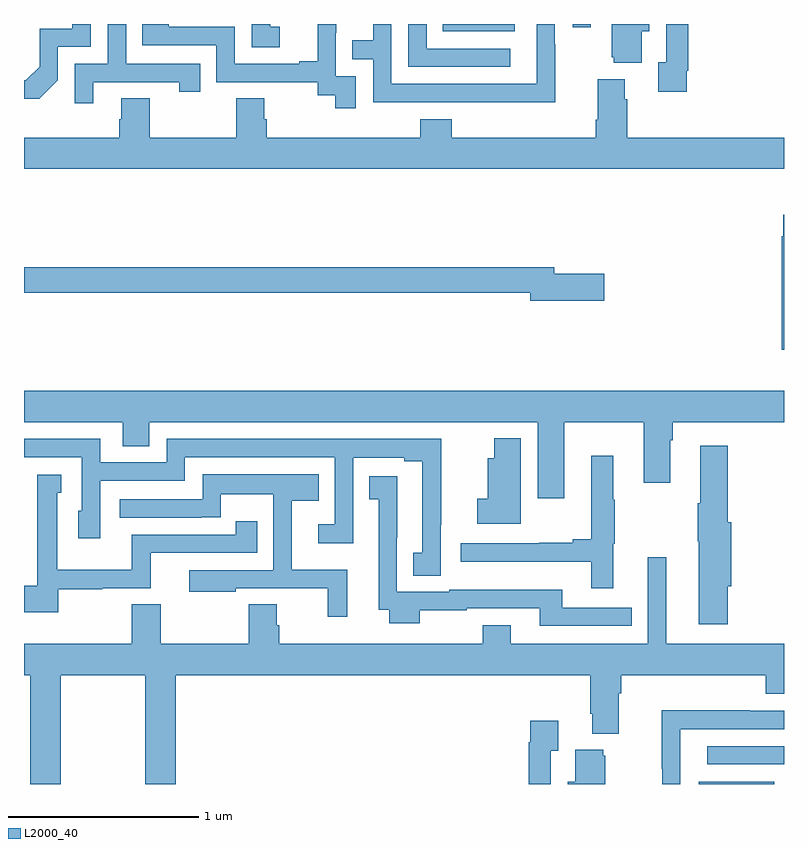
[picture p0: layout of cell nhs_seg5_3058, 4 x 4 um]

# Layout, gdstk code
import gdstk
lib = gdstk.Library(unit=1e-6, precision=1e-09)
def R(c, l, rs):  # rectangles x0, y0, x1, y1
    for r in rs: c.add(gdstk.rectangle(r[:2], r[2:], *l))
def P(c, l, *ps):  # polygons
    for p in ps: c.add(gdstk.Polygon(p, *l))
L2000_40 = (2000, 40)

nhs_seg5_3058 = lib.new_cell('nhs_seg5_3058')
R(nhs_seg5_3058, L2000_40, [(290.552,910.799,290.948,910.81), (290.595,910.902,291,910.998), (289.204,914.762,289.582,914.799), (289.887,914.781,289.983,914.799)])
P(nhs_seg5_3058, L2000_40, [(289.558,914.67),(289.119,914.67),(289.119,914.799),(289.023,914.799),(289.023,914.574),(289.558,914.574)],
  [(290.251,914.762),(290.29,914.762),(290.29,914.799),(290.093,914.799),(290.093,914.625),(290.105,914.625),(290.105,914.594),(290.251,914.594)],
  [(287.365,914.493),(287.816,914.493),(287.816,914.442),(287.927,914.442),(287.927,914.589),(287.538,914.589),(287.538,914.799),(287.442,914.799),(287.442,914.589),(287.268,914.589),(287.268,914.382),(287.365,914.382)],
  [(288.346,914.785),(288.297,914.785),(288.297,914.799),(288.198,914.799),(288.198,914.676),(288.346,914.676)],
  [(289.797,914.693),(289.794,914.693),(289.794,914.799),(289.698,914.799),(289.698,914.484),(288.933,914.484),(288.933,914.799),(288.837,914.799),(288.837,914.714),(288.727,914.714),(288.727,914.613),(288.837,914.613),(288.837,914.388),(289.333,914.388),(289.333,914.387),(289.797,914.387)],
  [(290.488,914.554),(290.495,914.554),(290.495,914.799),(290.379,914.799),(290.379,914.598),(290.339,914.598),(290.339,914.442),(290.488,914.442)],
  [(287.178,914.502),(287.178,914.679),(287.352,914.679),(287.352,914.799),(287.255,914.799),(287.255,914.775),(287.082,914.775),(287.082,914.574),(287.01,914.502),(287,914.502),(287,914.405),(287.08,914.405)],
  [(288.747,914.523),(288.642,914.523),(288.642,914.753),(288.644,914.753),(288.644,914.799),(288.545,914.799),(288.545,914.602),(288.449,914.602),(288.449,914.589),(288.108,914.589),(288.108,914.784),(287.763,914.784),(287.763,914.799),(287.623,914.799),(287.623,914.688),(288.012,914.688),(288.012,914.493),(288.546,914.493),(288.546,914.425),(288.639,914.425),(288.639,914.355),(288.747,914.355)],
  [(291,914.2),(290.174,914.2),(290.174,914.402),(290.161,914.402),(290.161,914.509),(290.021,914.509),(290.021,914.296),(290.009,914.296),(290.009,914.2),(289.25,914.2),(289.25,914.299),(289.085,914.299),(289.085,914.2),(288.278,914.2),(288.278,914.298),(288.265,914.298),(288.265,914.408),(288.118,914.408),(288.118,914.2),(287.661,914.2),(287.661,914.408),(287.513,914.408),(287.513,914.298),(287.501,914.298),(287.501,914.2),(287,914.2),(287,914.036),(291,914.036)],
  [(291,913.795),(290.997,913.795),(290.997,913.682),(290.989,913.682),(290.989,913.085),(291,913.085)],
  [(290.053,913.484),(289.792,913.484),(289.792,913.52),(287,913.52),(287,913.384),(289.664,913.384),(289.664,913.342),(290.053,913.342)],
  [(289.843,912.704),(290.261,912.704),(290.261,912.384),(290.401,912.384),(290.401,912.608),(290.414,912.608),(290.414,912.704),(291,912.704),(291,912.868),(287,912.868),(287,912.704),(287.519,912.704),(287.519,912.577),(287.659,912.577),(287.659,912.704),(289.703,912.704),(289.703,912.303),(289.843,912.303)],
  [(289.615,912.619),(289.475,912.619),(289.475,912.514),(289.442,912.514),(289.442,912.3),(289.386,912.3),(289.386,912.17),(289.615,912.17)],
  [(289.194,912.163),(289.197,912.163),(289.197,912.616),(288.739,912.616),(288.739,912.615),(287.751,912.615),(287.751,912.492),(287.4,912.492),(287.4,912.615),(287,912.615),(287,912.519),(287.304,912.519),(287.304,912.237),(287.285,912.237),(287.285,912.093),(287.4,912.093),(287.4,912.396),(287.847,912.396),(287.847,912.519),(288.636,912.519),(288.636,912.166),(288.549,912.166),(288.549,912.065),(288.732,912.065),(288.732,912.515),(289.001,912.515),(289.001,912.498),(289.097,912.498),(289.097,912.015),(289.048,912.015),(289.048,911.896),(289.194,911.896)],
  [(290.705,911.841),(290.723,911.841),(290.723,912.177),(290.705,912.177),(290.705,912.58),(290.558,912.58),(290.558,912.277),(290.545,912.277),(290.545,912.077),(290.552,912.077),(290.552,911.64),(290.705,911.64)],
  [(290.101,912.063),(290.109,912.063),(290.109,912.296),(290.101,912.296),(290.101,912.526),(289.985,912.526),(289.985,912.086),(289.889,912.086),(289.889,912.069),(289.711,912.069),(289.711,912.066),(289.299,912.066),(289.299,911.969),(289.985,911.969),(289.985,911.829),(290.101,911.829)],
  [(288.7,911.926),(288.409,911.926),(288.409,912.29),(288.551,912.29),(288.551,912.43),(287.94,912.43),(287.94,912.297),(287.505,912.297),(287.505,912.201),(287.933,912.201),(287.933,912.202),(288.036,912.202),(288.036,912.323),(288.312,912.323),(288.312,911.925),(287.871,911.925),(287.871,911.81),(288.115,911.81),(288.115,911.829),(288.598,911.829),(288.598,911.679),(288.7,911.679)],
  [(287.179,911.824),(287.412,911.824),(287.412,911.829),(287.666,911.829),(287.666,912.015),(288.227,912.015),(288.227,912.181),(288.114,912.181),(288.114,912.111),(287.567,912.111),(287.567,911.926),(287.176,911.926),(287.176,912.333),(287.197,912.333),(287.197,912.426),(287.069,912.426),(287.069,911.938),(287.07,911.938),(287.07,911.842),(287,911.842),(287,911.702),(287.179,911.702)],
  [(290.198,911.727),(289.834,911.727),(289.834,911.821),(289.239,911.821),(289.239,911.811),(288.963,911.811),(288.963,912.094),(288.964,912.094),(288.964,912.418),(288.817,912.418),(288.817,912.297),(288.866,912.297),(288.866,911.715),(288.923,911.715),(288.923,911.645),(289.083,911.645),(289.083,911.714),(289.329,911.714),(289.329,911.724),(289.715,911.724),(289.715,911.631),(290.198,911.631)],
  [(287.721,911.744),(287.566,911.744),(287.566,911.536),(287,911.536),(287,911.372),(287.033,911.372),(287.033,910.799),(287.193,910.799),(287.193,911.372),(287.638,911.372),(287.638,910.799),(287.798,910.799),(287.798,911.372),(289.979,911.372),(289.979,911.17),(289.991,911.17),(289.991,911.063),(290.131,911.063),(290.131,911.276),(290.144,911.276),(290.144,911.372),(290.903,911.372),(290.903,911.273),(291,911.273),(291,911.536),(290.38,911.536),(290.38,911.992),(290.283,911.992),(290.283,911.536),(289.561,911.536),(289.561,911.635),(289.414,911.635),(289.414,911.536),(288.344,911.536),(288.344,911.634),(288.331,911.634),(288.331,911.744),(288.184,911.744),(288.184,911.536),(287.721,911.536)],
  [(290.454,910.858),(290.455,910.858),(290.455,911.088),(291,911.088),(291,911.184),(290.819,911.184),(290.819,911.186),(290.356,911.186),(290.356,910.879),(290.358,910.879),(290.358,910.799),(290.454,910.799)],
  [(289.773,910.975),(289.813,910.975),(289.813,911.131),(289.665,911.131),(289.665,911.018),(289.657,911.018),(289.657,910.799),(289.773,910.799)],
  [(290.059,910.947),(290.048,910.947),(290.048,910.978),(289.901,910.978),(289.901,910.81),(289.862,910.81),(289.862,910.799),(290.059,910.799)])

lib.write_gds('nhs_seg5_3058.gds')
